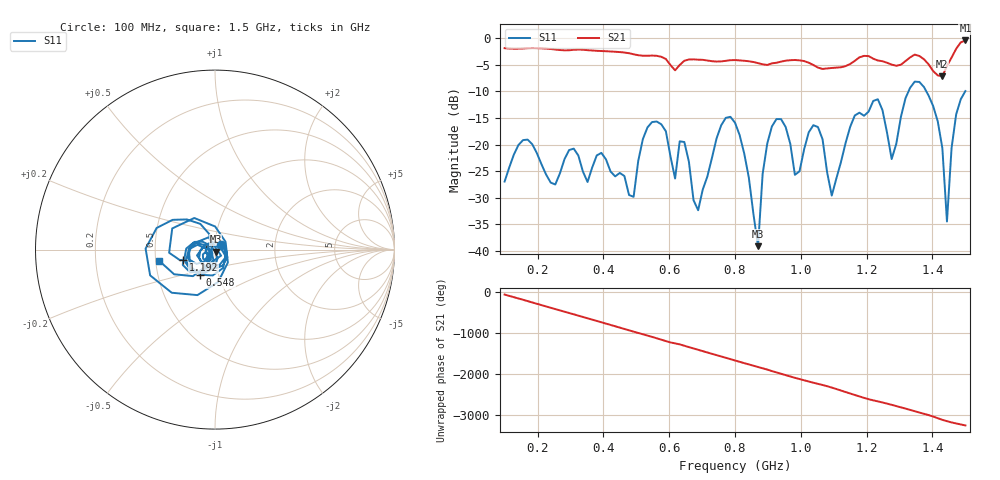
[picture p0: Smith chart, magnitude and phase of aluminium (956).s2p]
! NanoVNA-App
! Date: 2025-09-25 15:02:43
! Start: 100MHz Stop: 1,5GHz Points: 101
! S-Parameter data: F S11 S21 S12 S22
# Hz S RI R 50
!  Frequency  S11_Real  S11_Imag  S21_Real  S21_Imag  S12_Real  S12_Imag  S22_Real  S22_Imag
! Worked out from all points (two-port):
!   101 points, 100 MHz to 1.5 GHz, reference 50 ohm
!   highest |S21| = -0.47 dB at 1.5 GHz (marker M1); lowest = -7.2 dB at 1.43 GHz (marker M2)
!   |S21| within 3 dB of the highest: start of sweep to 571 MHz; 1.46 GHz to end of sweep (the widest 2 of 4)
!   lowest |S11| = -39.1 dB at 870 MHz (marker M3), VSWR 1.02, Z = 50.3 - j1.08 ohm
!   |S11| at or under -10 dB: start of sweep to 1.327 GHz; 1.381 GHz to 1.5 GHz (118.7 MHz wide, 8.24 % of centre)
!   S12 and S22 are empty: the file has one direction only
!   S11 on the Smith chart (normalised r, x): 100 MHz: 1.07, +0.06; 548 MHz: 0.82, -0.24; 1.192 GHz: 0.69, -0.08; 1.5 GHz: 0.52, -0.07
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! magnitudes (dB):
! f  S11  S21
! 100 MHz  -27.0  -1.9
! 156 MHz  -19.2  -2.0
! 338 MHz  -25.1  -2.2
! 492 MHz  -29.8  -3.1
! 548 MHz  -15.8  -3.3
! 576 MHz  -16.2  -3.5
! 646 MHz  -19.5  -4.3
! 688 MHz  -32.3  -4.1
! 800 MHz  -15.9  -4.2
! 870 MHz  -39.1  -4.7
! 912 MHz  -16.6  -4.8
! 982 MHz  -25.7  -4.1
! 1.038 GHz  -16.4  -5.1
! 1.094 GHz  -29.6  -5.6
! 1.192 GHz  -14.6  -3.4
! 1.234 GHz  -11.5  -4.2
! 1.276 GHz  -22.7  -5.0
! 1.346 GHz  -8.2  -3.1
! 1.43 GHz  -20.7  -7.2
! 1.444 GHz  -34.4  -5.3
! 1.472 GHz  -14.3  -2.0
! 1.5 GHz  -10.0  -0.5
